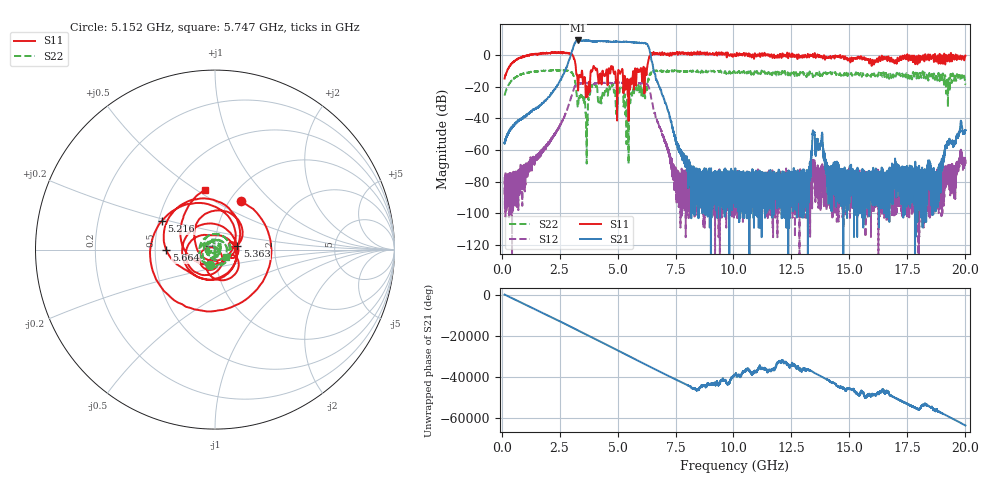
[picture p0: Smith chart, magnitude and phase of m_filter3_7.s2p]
!Created with skrf (http://scikit-rf.org).
# GHz S RI R 50.0
!freq ReS11 ImS11 ReS21 ImS21 ReS12 ImS12 ReS22 ImS22
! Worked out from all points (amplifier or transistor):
!   20013 points, 130 MHz to 20 GHz, reference 50 ohm
!   highest |S21| = 9.3 dB at 3.3 GHz (marker M1)
!   |S21| within 3 dB of that: 3.125 GHz to 6.3 GHz (3.175 GHz wide, 67.4 % of centre)
!   unconditionally stable (mu >= 1): start of sweep to 1.121 GHz; 3.099 GHz to 6.365 GHz; 14.6 GHz to 17.48 GHz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
!   at 3.465 GHz: K = 1.44, MAG = 9.6 dB, |S12| = -18.0 dB
!   at 10.14 GHz: K = -46540991.25, MSG = 4.7 dB, |S12| = -89.3 dB
!   at 20 GHz: K = 19331.35, MAG = -36.0 dB, |S12| = -67.1 dB
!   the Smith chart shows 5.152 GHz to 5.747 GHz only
!   S11 on the Smith chart (normalised r, x): 5.152 GHz: 1.13, +0.67; 5.216 GHz: 0.52, +0.19; 5.363 GHz: 1.29, +0.05; 5.664 GHz: 0.57, -0.01; 5.747 GHz: 0.73, +0.55
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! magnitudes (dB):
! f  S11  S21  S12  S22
! 130 MHz  -14.8  -55.7  -88.1  -25.5
! 2.766 GHz  1.2  -8.8  -36.6  -9.7
! 3.3 GHz  -22.2  9.3  -17.9  -32.8
! 3.442 GHz  -12.9  9.1  -17.9  -23.9
! 3.627 GHz  -25.9  9.2  -17.6  -36.7
! 5.152 GHz  -10.2  8.3  -17.5  -21.0
! 5.216 GHz  -9.4  8.3  -17.5  -20.2
! 5.363 GHz  -17.9  8.5  -17.3  -34.3
! 5.664 GHz  -11.4  8.1  -17.7  -23.3
! 5.747 GHz  -9.4  8.0  -17.7  -22.3
! 6.294 GHz  -6.1  6.6  -18.7  -18.3
! 6.754 GHz  0.5  -18.3  -43.1  -9.7
! 7.544 GHz  1.3  -55.6  -77.3  -9.6
! 8.226 GHz  0.5  -76.1  -84.3  -9.9
! 10.06 GHz  -0.3  -79.3  -78.5  -11.2
! 13.09 GHz  0.1  -79.4  -79.7  -11.2
! 13.38 GHz  -0.6  -60.7  -90.0  -11.1
! 13.78 GHz  -0.6  -55.4  -73.2  -11.2
! 14.16 GHz  -0.9  -74.6  -80.6  -10.9
! 16.69 GHz  -1.0  -82.0  -82.6  -13.4
! 18.74 GHz  -4.1  -78.3  -75.7  -11.9
! 20 GHz  -0.3  -47.4  -67.1  -17.9
